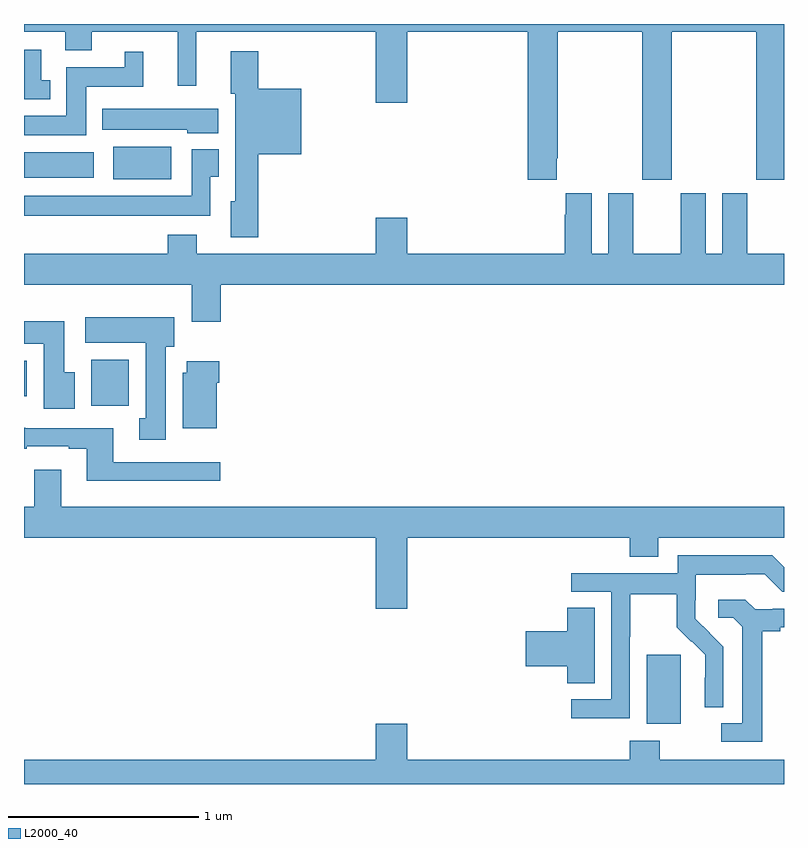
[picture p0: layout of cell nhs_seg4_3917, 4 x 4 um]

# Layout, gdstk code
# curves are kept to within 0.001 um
import gdstk
lib = gdstk.Library(unit=1e-6, precision=1e-09)
def R(c, l, rs):  # rectangles x0, y0, x1, y1
    for r in rs: c.add(gdstk.rectangle(r[:2], r[2:], *l))
def P(c, l, *ps):  # polygons
    for p in ps: c.add(gdstk.Polygon(p, *l))
L2000_40 = (2000, 40)

nhs_seg4_3917 = lib.new_cell('nhs_seg4_3917')
R(nhs_seg4_3917, L2000_40, [(322.277,753.218,322.456,753.579), (319.355,754.892,319.552,755.134), (319,754.94,319.015,755.128), (319.469,756.083,319.774,756.253), (319,756.092,319.366,756.226)])
P(nhs_seg4_3917, L2000_40, [(321.805,756.193),(321.81,756.193),(321.81,756.86),(322.255,756.86),(322.255,756.081),(322.41,756.081),(322.41,756.86),(322.855,756.86),(322.855,756.081),(323,756.081),(323,756.9),(319,756.9),(319,756.86),(319.217,756.86),(319.217,756.761),(319.357,756.761),(319.357,756.86),(319.808,756.86),(319.808,756.576),(319.907,756.576),(319.907,756.86),(320.852,756.86),(320.852,756.486),(321.016,756.486),(321.016,756.86),(321.65,756.86),(321.65,756.081),(321.805,756.081)],
  [(319.138,756.603),(319.092,756.603),(319.092,756.765),(319,756.765),(319,756.503),(319.138,756.503)],
  [(320.234,756.215),(320.458,756.215),(320.458,756.559),(320.234,756.559),(320.234,756.757),(320.087,756.757),(320.087,756.534),(320.111,756.534),(320.111,755.967),(320.087,755.967),(320.087,755.777),(320.234,755.777)],
  [(319.327,756.569),(319.628,756.569),(319.628,756.754),(319.529,756.754),(319.529,756.673),(319.223,756.673),(319.223,756.418),(319,756.418),(319,756.314),(319.327,756.314)],
  [(320.023,756.454),(319.412,756.454),(319.412,756.344),(319.86,756.344),(319.86,756.326),(320.023,756.326)],
  [(319.981,756.097),(320.026,756.097),(320.026,756.241),(319.884,756.241),(319.884,755.995),(319,755.995),(319,755.891),(319.981,755.891)],
  [(320.036,755.528),(323,755.528),(323,755.692),(322.807,755.692),(322.807,756.01),(322.676,756.01),(322.676,755.692),(322.588,755.692),(322.588,756.01),(322.457,756.01),(322.457,755.692),(322.207,755.692),(322.207,756.01),(322.076,756.01),(322.076,755.692),(321.988,755.692),(321.988,756.01),(321.851,756.01),(321.851,755.897),(321.845,755.897),(321.845,755.692),(321.016,755.692),(321.016,755.881),(320.852,755.881),(320.852,755.692),(319.909,755.692),(319.909,755.791),(319.757,755.791),(319.757,755.692),(319,755.692),(319,755.528),(319.883,755.528),(319.883,755.334),(320.036,755.334)],
  [(319.747,755.202),(319.792,755.202),(319.792,755.356),(319.323,755.356),(319.323,755.222),(319.64,755.222),(319.64,754.826),(319.607,754.826),(319.607,754.713),(319.747,754.713)],
  [(319.267,755.068),(319.213,755.068),(319.213,755.335),(319,755.335),(319,755.216),(319.103,755.216),(319.103,754.875),(319.267,754.875)],
  [(320.014,755.012),(320.027,755.012),(320.027,755.125),(319.856,755.125),(319.856,755.064),(319.835,755.064),(319.835,754.772),(320.014,754.772)],
  [(320.032,754.593),(319.471,754.593),(319.471,754.773),(319.007,754.773),(319.007,754.774),(319,754.774),(319,754.665),(319.015,754.665),(319.015,754.677),(319.235,754.677),(319.235,754.665),(319.331,754.665),(319.331,754.496),(320.032,754.496)],
  [(321.016,754.196),(322.187,754.196),(322.187,754.097),(322.339,754.097),(322.339,754.196),(323,754.196),(323,754.36),(319.195,754.36),(319.195,754.555),(319.055,754.555),(319.055,754.36),(319,754.36),(319,754.196),(320.852,754.196),(320.852,753.822),(321.016,753.822)],
  [(322.188,753.676),(322.191,753.676),(322.191,753.9),(322.435,753.9),(322.435,753.725),(322.512,753.648),(322.515,753.651),(322.586,753.581),(322.586,753.458),(322.584,753.458),(322.584,753.304),(322.68,753.304),(322.68,753.622),(322.534,753.77),(322.534,753.867),(322.536,753.867),(322.536,754.001),(322.799,754.001),(322.799,754.005),(322.899,754.005),(322.992,753.912),(323,753.912),(323,754.042),(322.937,754.105),(322.44,754.105),(322.44,754.008),(321.879,754.008),(321.879,753.912),(322.092,753.912),(322.092,753.345),(321.879,753.345),(321.879,753.247),(322.188,753.247)],
  [(322.885,753.704),(322.981,753.704),(322.981,753.726),(323,753.726),(323,753.822),(322.942,753.822),(322.942,753.819),(322.848,753.819),(322.796,753.871),(322.653,753.871),(322.653,753.774),(322.734,753.774),(322.781,753.727),(322.781,753.219),(322.671,753.219),(322.671,753.123),(322.885,753.123)],
  [(322.003,753.827),(321.86,753.827),(321.86,753.704),(321.642,753.704),(321.642,753.521),(321.86,753.521),(321.86,753.43),(322.003,753.43)],
  [(323,753.028),(322.347,753.028),(322.347,753.127),(322.187,753.127),(322.187,753.028),(321.016,753.028),(321.016,753.217),(320.852,753.217),(320.852,753.028),(319,753.028),(319,752.9),(323,752.9)])

lib.write_gds('nhs_seg4_3917.gds')
